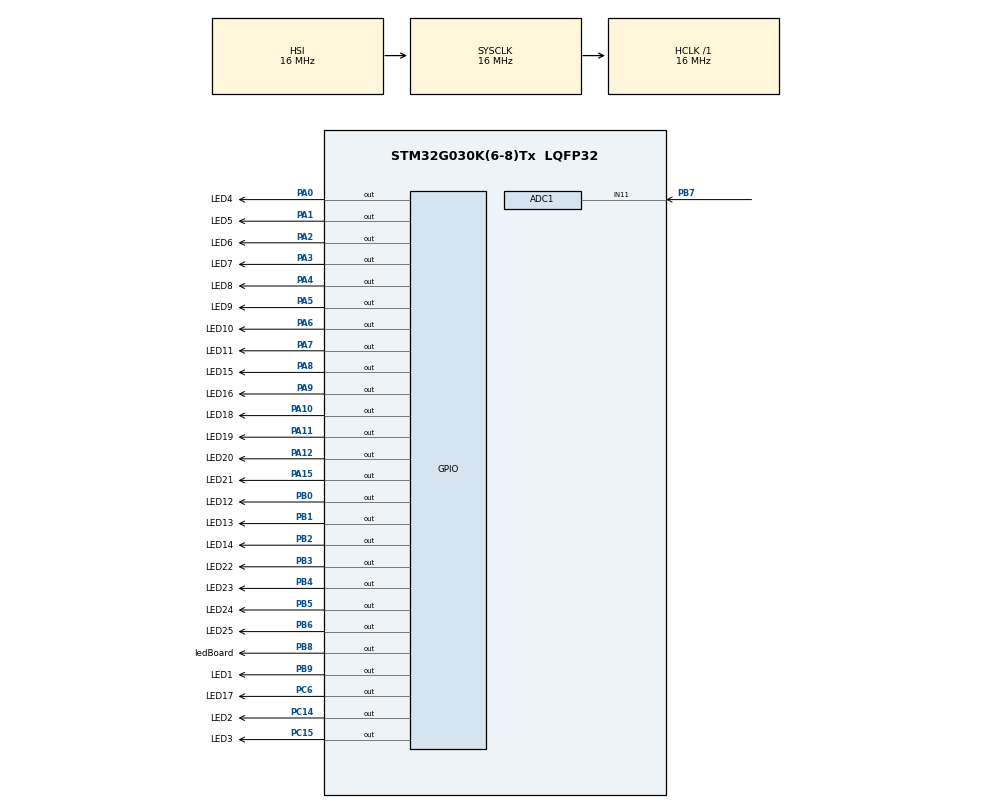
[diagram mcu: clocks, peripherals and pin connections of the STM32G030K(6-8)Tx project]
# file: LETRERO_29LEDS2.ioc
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ADC1.Channel-1\#ChannelRegularConversion=ADC_CHANNEL_11
ADC1.ContinuousConvMode=DISABLE
ADC1.NbrOfConversionFlag=1
ADC1.Rank-1\#ChannelRegularConversion=1
ADC1.Resolution=ADC_RESOLUTION_12B
ADC1.SamplingTime-1\#ChannelRegularConversion=ADC_SAMPLINGTIME_COMMON_1
ADC1.SamplingTimeCommon1=ADC_SAMPLETIME_160CYCLES_5
ADC1.SamplingTimeCommon2=ADC_SAMPLETIME_160CYCLES_5
ADC1.SelectedChannel=ADC_CHANNEL_11
ADC1.master=1
Mcu.Family=STM32G0
Mcu.Name=STM32G030K(6-8)Tx
Mcu.Package=LQFP32
NVIC.ADC1_IRQn=true\:0\:0\:false\:false\:true\:true\:true\:true
PA0.GPIO_Label=LED4
PA0.GPIO_ModeDefaultOutputPP=GPIO_MODE_OUTPUT_OD
PA0.GPIO_PuPd=GPIO_NOPULL
PA0.Signal=GPIO_Output
PA1.GPIO_Label=LED5
PA1.GPIO_ModeDefaultOutputPP=GPIO_MODE_OUTPUT_OD
PA1.GPIO_PuPd=GPIO_NOPULL
PA1.Signal=GPIO_Output
PA10.GPIO_Label=LED18
PA10.GPIO_ModeDefaultOutputPP=GPIO_MODE_OUTPUT_OD
PA10.GPIO_PuPd=GPIO_NOPULL
PA10.Signal=GPIO_Output
PA11\ [PA9].GPIO_Label=LED19
PA11\ [PA9].GPIO_ModeDefaultOutputPP=GPIO_MODE_OUTPUT_OD
PA11\ [PA9].GPIO_PuPd=GPIO_NOPULL
PA11\ [PA9].Signal=GPIO_Output
PA12\ [PA10].GPIO_Label=LED20
PA12\ [PA10].GPIO_ModeDefaultOutputPP=GPIO_MODE_OUTPUT_OD
PA12\ [PA10].GPIO_PuPd=GPIO_NOPULL
PA12\ [PA10].Signal=GPIO_Output
PA13.Mode=Serial_Wire
PA13.Signal=SYS_SWDIO
PA14-BOOT0.Mode=Serial_Wire
PA14-BOOT0.Signal=SYS_SWCLK
PA15.GPIO_Label=LED21
PA15.GPIO_ModeDefaultOutputPP=GPIO_MODE_OUTPUT_OD
PA15.GPIO_PuPd=GPIO_NOPULL
PA15.Signal=GPIO_Output
PA2.GPIO_Label=LED6
PA2.GPIO_ModeDefaultOutputPP=GPIO_MODE_OUTPUT_OD
PA2.GPIO_PuPd=GPIO_NOPULL
PA2.Signal=GPIO_Output
PA3.GPIO_Label=LED7
PA3.GPIO_ModeDefaultOutputPP=GPIO_MODE_OUTPUT_OD
PA3.GPIO_PuPd=GPIO_NOPULL
PA3.Signal=GPIO_Output
PA4.GPIO_Label=LED8
PA4.GPIO_ModeDefaultOutputPP=GPIO_MODE_OUTPUT_OD
PA4.GPIO_PuPd=GPIO_NOPULL
PA4.Signal=GPIO_Output
PA5.GPIO_Label=LED9
PA5.GPIO_ModeDefaultOutputPP=GPIO_MODE_OUTPUT_OD
PA5.GPIO_PuPd=GPIO_NOPULL
PA5.Signal=GPIO_Output
PA6.GPIO_Label=LED10
PA6.GPIO_ModeDefaultOutputPP=GPIO_MODE_OUTPUT_OD
PA6.GPIO_PuPd=GPIO_NOPULL
PA6.Signal=GPIO_Output
PA7.GPIO_Label=LED11
PA7.GPIO_ModeDefaultOutputPP=GPIO_MODE_OUTPUT_OD
PA7.GPIO_PuPd=GPIO_NOPULL
PA7.Signal=GPIO_Output
PA8.GPIO_Label=LED15
PA8.GPIO_ModeDefaultOutputPP=GPIO_MODE_OUTPUT_OD
PA8.GPIO_PuPd=GPIO_NOPULL
PA8.Signal=GPIO_Output
PA9.GPIO_Label=LED16
PA9.GPIO_ModeDefaultOutputPP=GPIO_MODE_OUTPUT_OD
PA9.GPIO_PuPd=GPIO_NOPULL
PA9.Signal=GPIO_Output
PB0.GPIO_Label=LED12
PB0.GPIO_ModeDefaultOutputPP=GPIO_MODE_OUTPUT_OD
PB0.GPIO_PuPd=GPIO_NOPULL
PB0.Signal=GPIO_Output
PB1.GPIO_Label=LED13
PB1.GPIO_ModeDefaultOutputPP=GPIO_MODE_OUTPUT_OD
PB1.GPIO_PuPd=GPIO_NOPULL
PB1.Signal=GPIO_Output
PB2.GPIO_Label=LED14
PB2.GPIO_ModeDefaultOutputPP=GPIO_MODE_OUTPUT_OD
PB2.GPIO_PuPd=GPIO_NOPULL
PB2.Signal=GPIO_Output
PB3.GPIO_Label=LED22
PB3.GPIO_ModeDefaultOutputPP=GPIO_MODE_OUTPUT_OD
PB3.GPIO_PuPd=GPIO_NOPULL
PB3.Signal=GPIO_Output
PB4.GPIO_Label=LED23
PB4.GPIO_ModeDefaultOutputPP=GPIO_MODE_OUTPUT_OD
PB4.GPIO_PuPd=GPIO_NOPULL
PB4.Signal=GPIO_Output
PB5.GPIO_Label=LED24
PB5.GPIO_ModeDefaultOutputPP=GPIO_MODE_OUTPUT_OD
PB5.GPIO_PuPd=GPIO_NOPULL
PB5.Signal=GPIO_Output
PB6.GPIO_Label=LED25
PB6.GPIO_ModeDefaultOutputPP=GPIO_MODE_OUTPUT_OD
PB6.GPIO_PuPd=GPIO_NOPULL
PB6.Signal=GPIO_Output
PB7.Mode=IN11
PB7.Signal=ADC1_IN11
PB8.GPIO_Label=ledBoard
PB8.Signal=GPIO_Output
PB9.GPIO_Label=LED1
PB9.GPIO_ModeDefaultOutputPP=GPIO_MODE_OUTPUT_OD
PB9.GPIO_PuPd=GPIO_NOPULL
PB9.GPIO_Speed=GPIO_SPEED_FREQ_LOW
PB9.Signal=GPIO_Output
PC14-OSC32_IN\ (PC14).GPIO_Label=LED2
PC14-OSC32_IN\ (PC14).GPIO_ModeDefaultOutputPP=GPIO_MODE_OUTPUT_OD
PC14-OSC32_IN\ (PC14).GPIO_PuPd=GPIO_NOPULL
PC14-OSC32_IN\ (PC14).Signal=GPIO_Output
PC15-OSC32_OUT\ (PC15).GPIO_Label=LED3
PC15-OSC32_OUT\ (PC15).GPIO_ModeDefaultOutputPP=GPIO_MODE_OUTPUT_OD
PC15-OSC32_OUT\ (PC15).GPIO_PuPd=GPIO_NOPULL
PC15-OSC32_OUT\ (PC15).Signal=GPIO_Output
PC6.GPIO_Label=LED17
PC6.GPIO_ModeDefaultOutputPP=GPIO_MODE_OUTPUT_OD
PC6.GPIO_PuPd=GPIO_NOPULL
PC6.Signal=GPIO_Output
ProjectManager.HeapSize=0x200
ProjectManager.StackSize=0x400
ProjectManager.TargetToolchain=STM32CubeIDE
RCC.AHBFreq_Value=16000000
RCC.CortexFreq_Value=16000000
RCC.EXTERNAL_CLOCK_VALUE=12288000
RCC.HCLKFreq_Value=16000000
RCC.HSE_VALUE=8000000
RCC.HSI_VALUE=16000000
RCC.LSE_VALUE=32768
RCC.SYSCLKFreq_VALUE=16000000
RCC.VCOOutputFreq_Value=128000000
board=custom

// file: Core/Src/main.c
/* USER CODE BEGIN Header */
/**
  ******************************************************************************
  * @file           : main.c
  * @brief          : Main program body
  ******************************************************************************
  * @attention
  *
  * Copyright (c) 2023 STMicroelectronics.
  * All rights reserved.
  *
  * This software is licensed under terms that can be found in the LICENSE file
  * in the root directory of this software component.
  * If no LICENSE file comes with this software, it is provided AS-IS.
  *
  ******************************************************************************
  */
/* USER CODE END Header */
#include "main.h"

/* USER CODE BEGIN Includes */
#define L1(state)  HAL_GPIO_WritePin(LED1_GPIO_Port,  LED1_Pin,  state)
#define L2(state)  HAL_GPIO_WritePin(LED2_GPIO_Port,  LED2_Pin,  state)
#define L3(state)  HAL_GPIO_WritePin(LED3_GPIO_Port,  LED3_Pin,  state)
#define L4(state)  HAL_GPIO_WritePin(LED4_GPIO_Port,  LED4_Pin,  state)
#define L5(state)  HAL_GPIO_WritePin(LED5_GPIO_Port,  LED5_Pin,  state)
#define L6(state)  HAL_GPIO_WritePin(LED6_GPIO_Port,  LED6_Pin,  state)
#define L7(state)  HAL_GPIO_WritePin(LED7_GPIO_Port,  LED7_Pin,  state)
#define L8(state)  HAL_GPIO_WritePin(LED8_GPIO_Port,  LED8_Pin,  state)
#define L9(state)  HAL_GPIO_WritePin(LED9_GPIO_Port,  LED9_Pin,  state)
#define L10(state) HAL_GPIO_WritePin(LED10_GPIO_Port, LED10_Pin, state)
#define L11(state) HAL_GPIO_WritePin(LED11_GPIO_Port, LED11_Pin, state)
#define L12(state) HAL_GPIO_WritePin(LED12_GPIO_Port, LED12_Pin, state)
#define L13(state) HAL_GPIO_WritePin(LED13_GPIO_Port, LED13_Pin, state)
#define L14(state) HAL_GPIO_WritePin(LED14_GPIO_Port, LED14_Pin, state)
#define L15(state) HAL_GPIO_WritePin(LED15_GPIO_Port, LED15_Pin, state)
#define L16(state) HAL_GPIO_WritePin(LED16_GPIO_Port, LED16_Pin, state)
#define L17(state) HAL_GPIO_WritePin(LED17_GPIO_Port, LED17_Pin, state)
#define L18(state) HAL_GPIO_WritePin(LED18_GPIO_Port, LED18_Pin, state)
#define L19(state) HAL_GPIO_WritePin(LED19_GPIO_Port, LED19_Pin, state)
#define L20(state) HAL_GPIO_WritePin(LED20_GPIO_Port, LED20_Pin, state)
#define L21(state) HAL_GPIO_WritePin(LED21_GPIO_Port, LED21_Pin, state)
#define L22(state) HAL_GPIO_WritePin(LED22_GPIO_Port, LED22_Pin, state)
#define L23(state) HAL_GPIO_WritePin(LED23_GPIO_Port, LED23_Pin, state)
#define L24(state) HAL_GPIO_WritePin(LED24_GPIO_Port, LED24_Pin, state)
#define L25(state) HAL_GPIO_WritePin(LED25_GPIO_Port, LED25_Pin, state)
//#define L26(state) HAL_GPIO_WritePin(LED26_GPIO_Port, LED26_Pin, state)
//#define L27(state) HAL_GPIO_WritePin(LED27_GPIO_Port, LED27_Pin, state)

/* USER CODE END Includes */

ADC_HandleTypeDef hadc1;

/* USER CODE BEGIN PV */
//siempre tiene que cumplir esto cantLeds > cantLeds2
uint8_t cantLeds =7;//agregar o quitar en  ControlLeds
uint8_t cantLeds2=5;//agregar o quitar en  ControlLeds2
uint16_t adc;
static float vel;
/* USER CODE END PV */

void SystemClock_Config(void);
static void MX_GPIO_Init(void);
static void MX_ADC1_Init(void);
/* USER CODE BEGIN PFP */
void HAL_ADC_ConvCpltCallback(ADC_HandleTypeDef* hadc);
float Refresh_ADC_Value(void);

void ControlLeds(uint8_t led, uint8_t state);
void ControlLeds2(uint8_t led, uint8_t state);
void Barrido1(uint8_t veces, uint16_t tiempo, uint16_t tiempo2);
void Interlude(uint8_t veces, uint16_t tiempo);
void Encender_1_Led(uint8_t num_led);
void Encender_1_Led_2(uint8_t num_led);
void Encender_1_Led_2_1(uint8_t num_led);
void Encender_1_Led_3(uint8_t num_led);
void Encender_1_Led_4(uint8_t num_led, uint8_t indice);
void Encender_1_Led_4_1(uint8_t num_led, uint8_t indice);
void AbrirApagar(uint8_t veces, uint16_t tiempo, uint16_t tiempo2);
void CerrarApagar(uint8_t veces, uint16_t tiempo, uint16_t tiempo2);
void Girar(uint8_t veces, uint16_t tiempo);
void VolumenAbrir(uint8_t veces, uint16_t tiempo, uint16_t tiempo2);
void VolumenAbrir2(uint8_t veces, uint16_t tiempo, uint16_t tiempo2);
void VolumenCerrar(uint8_t veces, uint16_t tiempo);
void ArmarIzquierda(uint8_t veces, uint16_t tiempo, uint16_t tiempo2);
void ArmarIzquierda2(uint8_t veces, uint16_t tiempo, uint16_t tiempo2);
void Blink(uint8_t veces, uint16_t tiempo);

/* USER CODE END PFP */

int main(void)
{

  /* MCU Configuration--------------------------------------------------------*/

  /* Reset of all peripherals, Initializes the Flash interface and the Systick. */
  HAL_Init();

  /* Configure the system clock */
  SystemClock_Config();

  /* Initialize all configured peripherals */
  MX_GPIO_Init();
  MX_ADC1_Init();
  /* USER CODE BEGIN 2 */
  HAL_ADC_Start_IT(&hadc1);
  /* USER CODE END 2 */
  HAL_Delay(3000);
  /* Infinite loop */
  /* USER CODE BEGIN WHILE */

  while (1)
  {
	  Barrido1(2,60,2500);Blink(2,1500);//ok

	  for(uint8_t i=1;i<=cantLeds;i++){ControlLeds(i,1);}//encender todo 1
	  ArmarIzquierda2(1,30,2000);
	  for(uint8_t i=1;i<=cantLeds;i++){ControlLeds2(i+cantLeds,1);}//encender todo 2
	  ArmarIzquierda(1,30,2000);
	  Blink(2,1500);//ok

	  Girar(2,100);Blink(2,2000);//ok

	  for(uint8_t i=1;i<=cantLeds;i++){ControlLeds(i,1);}//encender todo 1
	  VolumenAbrir2(1,30,2500);
	  for(uint8_t i=1;i<=cantLeds;i++){ControlLeds2(i+cantLeds,1);}//encender todo 2
	  VolumenAbrir(1,30,2500);//ok

	  CerrarApagar(3,150,2000);
	  Blink(2,1500);

	  for(uint8_t i=1;i<=cantLeds;i++){ControlLeds(i,1);}//encender todo 1
	  ArmarIzquierda2(1,30,2000);
	  for(uint8_t i=1;i<=cantLeds;i++){ControlLeds2(i+cantLeds,1);}//encender todo 2
	  ArmarIzquierda(1,30,2000);

	  Blink(3,1500);

    /* USER CODE END WHILE */

  }
}

void SystemClock_Config(void)
{
  RCC_OscInitTypeDef RCC_OscInitStruct = {0};
  RCC_ClkInitTypeDef RCC_ClkInitStruct = {0};

  /** Configure the main internal regulator output voltage
  */
  HAL_PWREx_ControlVoltageScaling(PWR_REGULATOR_VOLTAGE_SCALE1);

  /** Initializes the RCC Oscillators according to the specified parameters
  * in the RCC_OscInitTypeDef structure.
  */
  RCC_OscInitStruct.OscillatorType = RCC_OSCILLATORTYPE_HSI;
  RCC_OscInitStruct.HSIState = RCC_HSI_ON;
  RCC_OscInitStruct.HSIDiv = RCC_HSI_DIV1;
  RCC_OscInitStruct.HSICalibrationValue = RCC_HSICALIBRATION_DEFAULT;
  RCC_OscInitStruct.PLL.PLLState = RCC_PLL_NONE;
  if (HAL_RCC_OscConfig(&RCC_OscInitStruct) != HAL_OK)
  {
    Error_Handler();
  }

  /** Initializes the CPU, AHB and APB buses clocks
  */
  RCC_ClkInitStruct.ClockType = RCC_CLOCKTYPE_HCLK|RCC_CLOCKTYPE_SYSCLK
                              |RCC_CLOCKTYPE_PCLK1;
  RCC_ClkInitStruct.SYSCLKSource = RCC_SYSCLKSOURCE_HSI;
  RCC_ClkInitStruct.AHBCLKDivider = RCC_SYSCLK_DIV1;
  RCC_ClkInitStruct.APB1CLKDivider = RCC_HCLK_DIV1;

  if (HAL_RCC_ClockConfig(&RCC_ClkInitStruct, FLASH_LATENCY_0) != HAL_OK)
  {
    Error_Handler();
  }
}

static void MX_ADC1_Init(void)
{

  ADC_ChannelConfTypeDef sConfig = {0};

  /** Configure the global features of the ADC (Clock, Resolution, Data Alignment and number of conversion)
  */
  hadc1.Instance = ADC1;
  hadc1.Init.ClockPrescaler = ADC_CLOCK_SYNC_PCLK_DIV2;
  hadc1.Init.Resolution = ADC_RESOLUTION_12B;
  hadc1.Init.DataAlign = ADC_DATAALIGN_RIGHT;
  hadc1.Init.ScanConvMode = ADC_SCAN_DISABLE;
  hadc1.Init.EOCSelection = ADC_EOC_SINGLE_CONV;
  hadc1.Init.LowPowerAutoWait = DISABLE;
  hadc1.Init.LowPowerAutoPowerOff = DISABLE;
  hadc1.Init.ContinuousConvMode = DISABLE;
  hadc1.Init.NbrOfConversion = 1;
  hadc1.Init.DiscontinuousConvMode = DISABLE;
  hadc1.Init.ExternalTrigConv = ADC_SOFTWARE_START;
  hadc1.Init.ExternalTrigConvEdge = ADC_EXTERNALTRIGCONVEDGE_NONE;
  hadc1.Init.DMAContinuousRequests = DISABLE;
  hadc1.Init.Overrun = ADC_OVR_DATA_PRESERVED;
  hadc1.Init.SamplingTimeCommon1 = ADC_SAMPLETIME_160CYCLES_5;
  hadc1.Init.SamplingTimeCommon2 = ADC_SAMPLETIME_160CYCLES_5;
  hadc1.Init.OversamplingMode = DISABLE;
  hadc1.Init.TriggerFrequencyMode = ADC_TRIGGER_FREQ_HIGH;
  if (HAL_ADC_Init(&hadc1) != HAL_OK)
  {
    Error_Handler();
  }

  /** Configure Regular Channel
  */
  sConfig.Channel = ADC_CHANNEL_11;
  sConfig.Rank = ADC_REGULAR_RANK_1;
  sConfig.SamplingTime = ADC_SAMPLINGTIME_COMMON_1;
  if (HAL_ADC_ConfigChannel(&hadc1, &sConfig) != HAL_OK)
  {
    Error_Handler();
  }

}

static void MX_GPIO_Init(void)
{
  GPIO_InitTypeDef GPIO_InitStruct = {0};

  /* GPIO Ports Clock Enable */
  __HAL_RCC_GPIOB_CLK_ENABLE();
  __HAL_RCC_GPIOC_CLK_ENABLE();
  __HAL_RCC_GPIOA_CLK_ENABLE();

  /*Configure GPIO pin Output Level */
  HAL_GPIO_WritePin(GPIOB, LED1_Pin|LED12_Pin|LED13_Pin|LED14_Pin
                          |LED22_Pin|LED23_Pin|LED24_Pin|LED25_Pin
                          |ledBoard_Pin, GPIO_PIN_RESET);

  /*Configure GPIO pin Output Level */
  HAL_GPIO_WritePin(GPIOC, LED2_Pin|LED3_Pin|LED17_Pin, GPIO_PIN_RESET);

  /*Configure GPIO pin Output Level */
  HAL_GPIO_WritePin(GPIOA, LED4_Pin|LED5_Pin|LED6_Pin|LED7_Pin
                          |LED8_Pin|LED9_Pin|LED10_Pin|LED11_Pin
                          |LED15_Pin|LED16_Pin|LED18_Pin|LED19_Pin
                          |LED20_Pin|LED21_Pin, GPIO_PIN_RESET);

  /*Configure GPIO pins : LED1_Pin LED12_Pin LED13_Pin LED14_Pin
                           LED22_Pin LED23_Pin LED24_Pin LED25_Pin */
  GPIO_InitStruct.Pin = LED1_Pin|LED12_Pin|LED13_Pin|LED14_Pin
                          |LED22_Pin|LED23_Pin|LED24_Pin|LED25_Pin;
  GPIO_InitStruct.Mode = GPIO_MODE_OUTPUT_OD;
  GPIO_InitStruct.Pull = GPIO_NOPULL;
  GPIO_InitStruct.Speed = GPIO_SPEED_FREQ_LOW;
  HAL_GPIO_Init(GPIOB, &GPIO_InitStruct);

  /*Configure GPIO pins : LED2_Pin LED3_Pin LED17_Pin */
  GPIO_InitStruct.Pin = LED2_Pin|LED3_Pin|LED17_Pin;
  GPIO_InitStruct.Mode = GPIO_MODE_OUTPUT_OD;
  GPIO_InitStruct.Pull = GPIO_NOPULL;
  GPIO_InitStruct.Speed = GPIO_SPEED_FREQ_LOW;
  HAL_GPIO_Init(GPIOC, &GPIO_InitStruct);

  /*Configure GPIO pins : LED4_Pin LED5_Pin LED6_Pin LED7_Pin
                           LED8_Pin LED9_Pin LED10_Pin LED11_Pin
                           LED15_Pin LED16_Pin LED18_Pin LED19_Pin
                           LED20_Pin LED21_Pin */
  GPIO_InitStruct.Pin = LED4_Pin|LED5_Pin|LED6_Pin|LED7_Pin
                          |LED8_Pin|LED9_Pin|LED10_Pin|LED11_Pin
                          |LED15_Pin|LED16_Pin|LED18_Pin|LED19_Pin
                          |LED20_Pin|LED21_Pin;
  GPIO_InitStruct.Mode = GPIO_MODE_OUTPUT_OD;
  GPIO_InitStruct.Pull = GPIO_NOPULL;
  GPIO_InitStruct.Speed = GPIO_SPEED_FREQ_LOW;
  HAL_GPIO_Init(GPIOA, &GPIO_InitStruct);

  /*Configure GPIO pin : ledBoard_Pin */
  GPIO_InitStruct.Pin = ledBoard_Pin;
  GPIO_InitStruct.Mode = GPIO_MODE_OUTPUT_PP;
  GPIO_InitStruct.Pull = GPIO_NOPULL;
  GPIO_InitStruct.Speed = GPIO_SPEED_FREQ_LOW;
  HAL_GPIO_Init(ledBoard_GPIO_Port, &GPIO_InitStruct);

}

/* USER CODE BEGIN 4 */
void HAL_ADC_ConvCpltCallback(ADC_HandleTypeDef* hadc){
	adc = HAL_ADC_GetValue(&hadc1);
	vel = (float)adc/1023;
	HAL_ADC_Start_IT(&hadc1);
}

float Refresh_ADC_Value(void){
	adc = HAL_ADC_GetValue(&hadc1);
	vel = (float)adc/1023;
	HAL_ADC_Start_IT(&hadc1);
	return vel;
}

void ControlLeds(uint8_t led, uint8_t state){
	switch(led){
		case 1:  L1(state); break;
		case 2:  L2(state); break;
		case 3:  L3(state); break;
		case 4:  L4(state); break;
		case 5:  L5(state); break;
		case 6:  L6(state); break;
		case 7:  L7(state); break;
		default:break;
	}
}

void ControlLeds2(uint8_t led, uint8_t state){
	switch(led){
		case 8:  L8(state); break;
		case 9:  L9(state); break;
		case 10: L10(state);break;
		case 11: L11(state);break;
		case 12: L12(state);break;
	}
}

void Barrido1(uint8_t veces, uint16_t tiempo, uint16_t tiempo2){
	for(uint8_t v=0;v<veces;v++){
		for(uint8_t i=1; i<=cantLeds; i++){ControlLeds(i,1);ControlLeds2(i+cantLeds,1);HAL_Delay(tiempo*Refresh_ADC_Value());}
		HAL_Delay(tiempo2*Refresh_ADC_Value());
		for(uint8_t i=1; i<=cantLeds; i++){ControlLeds(i,0);ControlLeds2(i+cantLeds,0);HAL_Delay(tiempo*Refresh_ADC_Value());}
	}
}

void Encender_1_Led(uint8_t num_led){
	for(uint8_t i=1; i<=cantLeds; i++){
		if(i == num_led){
			ControlLeds(i,1);
		}else{
			ControlLeds(i,0);
		}
	}
}

void Encender_1_Led_2(uint8_t num_led){
	for(uint8_t i=1; i<=cantLeds; i++){
		if(i<=num_led){
			ControlLeds(i,1);
		}else{
			ControlLeds(i,0);
		}
	}
}

void Encender_1_Led_2_1(uint8_t num_led){
	for(uint8_t i=1; i<=cantLeds; i++){
		if(i<=num_led){
			ControlLeds2(i+cantLeds,1);
		}else{
			ControlLeds2(i+cantLeds,0);
		}
	}
}

void Encender_1_Led_3(uint8_t num_led){
	for(uint8_t i=1; i<=cantLeds; i++){
		if(i>=num_led){
			ControlLeds(i,1);
		}else{
			ControlLeds(i,0);
		}
	}
}

void Encender_1_Led_4(uint8_t num_led, uint8_t indice){
	for(uint8_t i=cantLeds;i>=indice;i--){
		if(i == num_led){
			ControlLeds(i,1);
		}else{
			ControlLeds(i,0);
		}
	}
}

void Encender_1_Led_4_1(uint8_t num_led, uint8_t indice){
	for(uint8_t i=cantLeds;i>=indice;i--){
		if(i == num_led){
			ControlLeds2(i+cantLeds,1);
		}else{
			ControlLeds2(i+cantLeds,0);
		}
	}
}

void Interlude(uint8_t veces, uint16_t tiempo){
	for(uint8_t v=0;v<veces;v++){
		for(uint8_t i=1;i<=cantLeds;i++){
			Encender_1_Led(i);
			HAL_Delay(tiempo*Refresh_ADC_Value());
		}
		for(uint8_t i=cantLeds;i>=1;i--){
			Encender_1_Led(i);
			HAL_Delay(tiempo*Refresh_ADC_Value());
		}
	}
}

void AbrirApagar(uint8_t veces, uint16_t tiempo, uint16_t tiempo2){

	for(uint8_t v=0;v<veces;v++){

		uint8_t centro,centro2,impar=1,par=0;

		// cantLeds = PAR  && cantLeds2 = PAR ///////////////////////////////////////////////////////////////
		if(cantLeds%2==0 && cantLeds2%2==0){//OK
			centro  = cantLeds/2; //3
			centro2 = cantLeds2/2;//2
			for(uint8_t i=centro;i>=1;i--){
				ControlLeds2(i-(centro-centro2)+cantLeds, 1);      ControlLeds(i,1);
				ControlLeds2(i+impar-(centro-centro2)+cantLeds, 1);  ControlLeds(i+impar,1);
				impar=impar+2;
				HAL_Delay(tiempo*Refresh_ADC_Value());
			}

			impar=1;
			HAL_Delay(tiempo2*Refresh_ADC_Value());

			for(uint8_t i=centro;i>=1;i--){
				ControlLeds2(i-(centro-centro2)+cantLeds, 0);      ControlLeds(i,0);
				ControlLeds2(i+impar-(centro-centro2)+cantLeds, 0);  ControlLeds(i+impar,0);
				impar=impar+2;
				HAL_Delay(tiempo*Refresh_ADC_Value());
			}

		}

		// cantLeds = PAR  && cantLeds2 = IMPAR ///////////////////////////////////////////////////////////////
		if(cantLeds%2==0 && cantLeds2%2!=0){//OK
			centro  = cantLeds/2; //3
			centro2 = (cantLeds2/2)+1;//3
			for(uint8_t i=centro;i>=1;i--){
				ControlLeds2(i-(centro-centro2)+cantLeds, 1);      ControlLeds(i,1);
				ControlLeds2(i+impar-(centro-centro2+1)+cantLeds, 1);  ControlLeds(i+impar,1);
				impar=impar+2;
				HAL_Delay(tiempo*Refresh_ADC_Value());
			}

			impar=1;
			HAL_Delay(tiempo2*Refresh_ADC_Value());

			for(uint8_t i=centro;i>=1;i--){
				ControlLeds2(i-(centro-centro2)+cantLeds, 0);      ControlLeds(i,0);
				ControlLeds2(i+impar-(centro-centro2+1)+cantLeds, 0);  ControlLeds(i+impar,0);
				impar=impar+2;
				HAL_Delay(tiempo*Refresh_ADC_Value());
			}

		}

		// cantLeds = IMPAR  && cantLeds2 = PAR ///////////////////////////////////////////////////////////////
		if(cantLeds%2!=0 && cantLeds2%2==0){//OK
			centro = (cantLeds/2)+1;//4
			centro2 = (cantLeds2/2);//2
			for(uint8_t i=centro;i>=1;i--){
				ControlLeds2(i-(centro-centro2)+cantLeds, 1);      ControlLeds(i,1);
				ControlLeds2(i+par-(centro-centro2-1)+cantLeds, 1);  ControlLeds(i+par,1);
				par=par+2;
				HAL_Delay(tiempo*Refresh_ADC_Value());
			}

			par=0;
			HAL_Delay(tiempo2*Refresh_ADC_Value());

			for(uint8_t i=centro;i>=1;i--){
				ControlLeds2(i-(centro-centro2)+cantLeds, 0);      ControlLeds(i,0);
				ControlLeds2(i+par-(centro-centro2-1)+cantLeds, 0);ControlLeds(i+par,0);
				par=par+2;
				HAL_Delay(tiempo*Refresh_ADC_Value());
			}
		}

		// cantLeds = IMPAR  && cantLeds2 = IMPAR ///////////////////////////////////////////////////////////////
		if(cantLeds%2!=0 && cantLeds2%2!=0){//OK
			centro = (cantLeds/2)+1;//4
			centro2 = (cantLeds2/2+1);//3
			for(uint8_t i=centro;i>=1;i--){
				ControlLeds2(i-(centro-centro2)+cantLeds, 1);      ControlLeds(i,1);
				ControlLeds2(i+par-(centro-centro2)+cantLeds, 1);  ControlLeds(i+par,1);
				par=par+2;
				HAL_Delay(tiempo*Refresh_ADC_Value());
			}

			par=0;
			HAL_Delay(tiempo2*Refresh_ADC_Value());

			for(uint8_t i=centro;i>=1;i--){
				ControlLeds2(i-(centro-centro2)+cantLeds, 0);      ControlLeds(i,0);
				ControlLeds2(i+par-(centro-centro2)+cantLeds, 0);ControlLeds(i+par,0);
				par=par+2;
				HAL_Delay(tiempo*Refresh_ADC_Value());
			}
		}

	}
}

void CerrarApagar(uint8_t veces, uint16_t tiempo, uint16_t tiempo2){
	for(uint8_t v=0;v<veces;v++){
		uint8_t limite,limite2,centro;

		// cantLeds = PAR  && cantLeds2 = PAR ///////////////////////////////////////////////////////////////
		if(cantLeds%2==0 && cantLeds2%2==0){//ok

			centro = cantLeds/2;//3
			limite = cantLeds-1;//5
			limite2 = cantLeds2-1;//5

			for(uint8_t i=1;i<=centro;i++){
				ControlLeds(i, 1);        ControlLeds2(i+cantLeds,1);
				ControlLeds(i+limite, 1); ControlLeds2(i+cantLeds+limite2,1);
				limite=limite-2;
				limite2=limite2-2;
				HAL_Delay(tiempo*Refresh_ADC_Value());
			}

			limite  = cantLeds-1;
			limite2 = cantLeds2-1;
			HAL_Delay(tiempo2*Refresh_ADC_Value());

			for(uint8_t i=1;i<=centro;i++){
				ControlLeds(i, 0);        ControlLeds2(i+cantLeds,0);
				ControlLeds(i+limite, 0); ControlLeds2(i+cantLeds+limite2,0);
				limite=limite-2;
				limite2=limite2-2;
				HAL_Delay(tiempo*Refresh_ADC_Value());
			}
		}

		// cantLeds = PAR  && cantLeds2 = IMPAR ///////////////////////////////////////////////////////////////
		if(cantLeds%2==0 && cantLeds2%2!=0){//ok

			centro = cantLeds/2;//3
			limite = cantLeds-1;//5
			limite2 = cantLeds2-1;//4

			for(uint8_t i=1;i<=centro;i++){
				ControlLeds(i, 1);        ControlLeds2(i+cantLeds,1);
				ControlLeds(i+limite, 1); ControlLeds2(i+cantLeds+limite2,1);
				limite=limite-2;
				limite2=limite2-2;
				HAL_Delay(tiempo*Refresh_ADC_Value());
			}

			limite  = cantLeds-1;
			limite2 = cantLeds2-1;
			HAL_Delay(tiempo2*Refresh_ADC_Value());

			for(uint8_t i=1;i<=centro;i++){
				ControlLeds(i, 0);	      ControlLeds2(i+cantLeds,0);
				ControlLeds(i+limite, 0); ControlLeds2(i+cantLeds+limite2,0);
				limite=limite-2;
				limite2=limite2-2;
				HAL_Delay(tiempo*Refresh_ADC_Value());
			}
		}

		// cantLeds = IMPAR  && cantLeds2 = PAR ///////////////////////////////////////////////////////////////
		if(cantLeds%2!=0 && cantLeds2%2==0){
			centro = (cantLeds/2)+1;//7
			limite = cantLeds-1;
			limite2 = cantLeds2-1;

			for(uint8_t i=1;i<=centro;i++){
				ControlLeds(i, 1);       ControlLeds2(i+cantLeds,1);
				ControlLeds(i+limite, 1);ControlLeds2(i+cantLeds+limite2,1);
				limite=limite-2;
				limite2=limite2-2;
				HAL_Delay(tiempo*Refresh_ADC_Value());
			}

			limite = cantLeds-1;
			limite2 = cantLeds2-1;
			HAL_Delay(tiempo2*Refresh_ADC_Value());

			for(uint8_t i=1;i<=centro;i++){
				ControlLeds(i, 0);       ControlLeds2(i+cantLeds,0);
				ControlLeds(i+limite, 0);ControlLeds2(i+cantLeds+limite2,0);
				limite=limite-2;
				limite2=limite2-2;
				HAL_Delay(tiempo*Refresh_ADC_Value());
			}
		}

		// cantLeds = IMPAR  && cantLeds2 = IMPAR ///////////////////////////////////////////////////////////////
		if(cantLeds%2!=0 && cantLeds2%2!=0){//ok
			centro = (cantLeds/2)+1;//7
			limite = cantLeds-1;limite2 = cantLeds2-1;
			for(uint8_t i=1;i<=centro;i++){
				ControlLeds(i, 1);ControlLeds2(i+cantLeds,1);
				ControlLeds(i+limite, 1);ControlLeds2(i+cantLeds+limite2,1);
				limite=limite-2;limite2=limite2-2;
				HAL_Delay(tiempo*Refresh_ADC_Value());
			}
			limite = cantLeds-1;limite2 = cantLeds2-1;
			HAL_Delay(tiempo2*Refresh_ADC_Value());
			for(uint8_t i=1;i<=centro;i++){
				ControlLeds(i, 0);ControlLeds2(i+cantLeds,0);
				ControlLeds(i+limite, 0);ControlLeds2(i+cantLeds+limite2,0);
				limite=limite-2;limite2=limite2-2;
				HAL_Delay(tiempo*Refresh_ADC_Value());
			}
		}

	}
}

void Girar(uint8_t veces, uint16_t tiempo){
	for(uint8_t v=0;v<veces;v++){
		AbrirApagar(1,tiempo*Refresh_ADC_Value(),0);
		CerrarApagar(1,tiempo*Refresh_ADC_Value(),0);
	}
}

void VolumenAbrir(uint8_t veces, uint16_t tiempo, uint16_t tiempo2){
	for(uint8_t v=0;v<veces;v++){
		uint8_t l;
		for(uint8_t i=1;i<=cantLeds;i++){
			l=i;
			HAL_Delay(tiempo*Refresh_ADC_Value());
			for(uint8_t i=l;i<=cantLeds;i++){
				Encender_1_Led_2(i);
				HAL_Delay(tiempo*Refresh_ADC_Value());
			}
			for(uint8_t i=cantLeds;i>=l;i--){
				Encender_1_Led_2(i);
				HAL_Delay(tiempo*Refresh_ADC_Value());
			}
		}
		HAL_Delay(tiempo2*Refresh_ADC_Value());
	}
}

void VolumenAbrir2(uint8_t veces, uint16_t tiempo, uint16_t tiempo2){
	for(uint8_t v=0;v<veces;v++){
		uint8_t l;
		for(uint8_t i=1;i<=cantLeds;i++){
			l=i;
			HAL_Delay(tiempo*Refresh_ADC_Value());
			for(uint8_t i=l;i<=cantLeds;i++){
				Encender_1_Led_2_1(i);
				HAL_Delay(tiempo*Refresh_ADC_Value());
			}
			for(uint8_t i=cantLeds;i>=l;i--){
				Encender_1_Led_2_1(i);
				HAL_Delay(tiempo*Refresh_ADC_Value());
			}
		}
		HAL_Delay(tiempo2*Refresh_ADC_Value());
	}
}

void VolumenCerrar(uint8_t veces, uint16_t tiempo){
	for(uint8_t v=0;v<veces;v++){
		uint8_t l;
		for(uint8_t i=1;i<=cantLeds;i++){
			l=i;
			HAL_Delay(tiempo*Refresh_ADC_Value());
			for(uint8_t i=l;i<=cantLeds;i++){
				Encender_1_Led_3(i);
				HAL_Delay(tiempo*Refresh_ADC_Value());
			}
			for(uint8_t i=cantLeds;i>=l;i--){
				Encender_1_Led_3(i);
				HAL_Delay(tiempo*Refresh_ADC_Value());
			}
		}
	}
}

void ArmarIzquierda(uint8_t veces, uint16_t tiempo, uint16_t tiempo2){
	for(uint8_t v=0;v<veces;v++){

		uint8_t l=1;
		for(uint8_t i=cantLeds;i>=1;i--){
			for(uint8_t i=cantLeds;i>=l;i--){
				Encender_1_Led_4(i,l);
				if(l<cantLeds/2){
					HAL_Delay(tiempo*Refresh_ADC_Value());
				}else if(l>=cantLeds-2){
					HAL_Delay(tiempo*Refresh_ADC_Value()*4);
				}else{
					HAL_Delay(tiempo*Refresh_ADC_Value()*2);
				}
				//HAL_Delay(tiempo);
			}

			if(l>=cantLeds){
				l=1;
			}else{
				ControlLeds(l, 1);
				l++;
			}
		}

		HAL_Delay(tiempo2*Refresh_ADC_Value());
	}
}

void ArmarIzquierda2(uint8_t veces, uint16_t tiempo, uint16_t tiempo2){
	for(uint8_t v=0;v<veces;v++){

		uint8_t l=1;
		for(uint8_t i=cantLeds;i>=1;i--){
			for(uint8_t i=cantLeds;i>=l;i--){
				Encender_1_Led_4_1(i,l);
				if(l<cantLeds/2){
					HAL_Delay(tiempo*Refresh_ADC_Value());
				}else if(l>=cantLeds-2){
					HAL_Delay(tiempo*Refresh_ADC_Value()*4);
				}else{
					HAL_Delay(tiempo*Refresh_ADC_Value()*2);
				}
				//HAL_Delay(tiempo);
			}

			if(l>=cantLeds){
				l=1;
			}else{
				ControlLeds2(l+cantLeds, 1);
				l++;
			}
		}

		HAL_Delay(tiempo2*Refresh_ADC_Value());
	}
}

void Blink(uint8_t veces, uint16_t tiempo){
	for(uint8_t v=0;v<veces;v++){
		for(uint8_t i=1;i<=cantLeds;i++){
			ControlLeds(i, 1);ControlLeds2(i+cantLeds,1);
		}
		HAL_Delay(tiempo*Refresh_ADC_Value());
		for(uint8_t i=1;i<=cantLeds;i++){
			ControlLeds(i, 0);ControlLeds2(i+cantLeds,0);
		}
		HAL_Delay(tiempo*Refresh_ADC_Value()/5);
	}
}
/* USER CODE END 4 */

void Error_Handler(void)
{
  __disable_irq();
  while (1)
  {
  }
}
